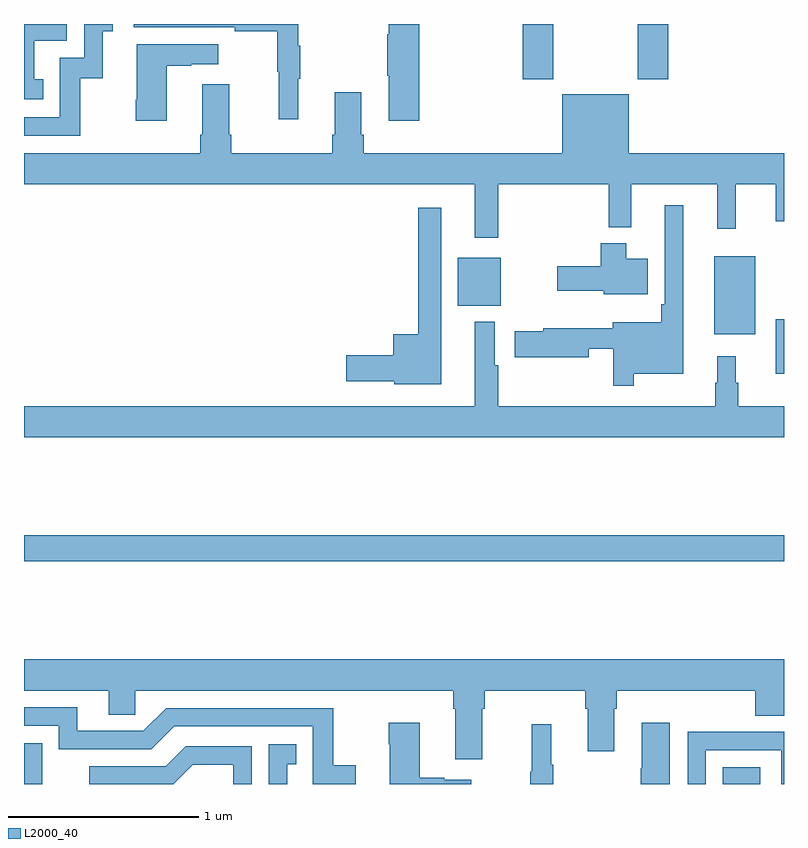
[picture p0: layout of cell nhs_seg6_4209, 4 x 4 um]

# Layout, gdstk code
import gdstk
lib = gdstk.Library(unit=1e-6, precision=1e-09)
def R(c, l, rs):  # rectangles x0, y0, x1, y1
    for r in rs: c.add(gdstk.rectangle(r[:2], r[2:], *l))
def P(c, l, *ps):  # polygons
    for p in ps: c.add(gdstk.Polygon(p, *l))
L2000_40 = (2000, 40)

nhs_seg6_4209 = lib.new_cell('nhs_seg6_4209')
R(nhs_seg6_4209, L2000_40, [(362.678,957.5,362.875,957.589), (359,958.672,363,958.808), (362.957,959.658,363,959.947), (362.633,959.867,362.848,960.277), (361.283,960.017,361.51,960.271), (361.625,961.209,361.785,961.5), (362.23,961.209,362.39,961.5)])
P(nhs_seg6_4209, L2000_40, [(360.443,961.211),(360.454,961.211),(360.454,961.385),(360.443,961.385),(360.443,961.5),(359.577,961.5),(359.577,961.482),(360.109,961.482),(360.109,961.462),(360.333,961.462),(360.333,961.248),(360.34,961.248),(360.34,960.999),(360.443,960.999)],
  [(359.102,961.209),(359.053,961.209),(359.053,961.413),(359.226,961.413),(359.226,961.5),(359,961.5),(359,961.104),(359.102,961.104)],
  [(361.079,961.5),(360.92,961.5),(360.92,961.445),(360.913,961.445),(360.913,961.228),(360.92,961.228),(360.92,960.99),(361.079,960.99)],
  [(359.296,961.215),(359.414,961.215),(359.414,961.461),(359.467,961.461),(359.467,961.5),(359.316,961.5),(359.316,961.323),(359.187,961.323),(359.187,961.008),(359,961.008),(359,960.912),(359.296,960.912)],
  [(359.752,961.279),(359.879,961.279),(359.879,961.289),(360.022,961.289),(360.022,961.393),(359.594,961.393),(359.594,961.102),(359.587,961.102),(359.587,960.99),(359.752,960.99)],
  [(361.495,960.656),(362.077,960.656),(362.077,960.431),(362.195,960.431),(362.195,960.656),(362.648,960.656),(362.648,960.423),(362.747,960.423),(362.747,960.656),(362.957,960.656),(362.957,960.462),(363,960.462),(363,960.82),(362.182,960.82),(362.182,961.129),(361.832,961.129),(361.832,960.82),(360.788,960.82),(360.788,960.916),(360.775,960.916),(360.775,961.141),(360.635,961.141),(360.635,960.916),(360.623,960.916),(360.623,960.82),(360.092,960.82),(360.092,960.916),(360.079,960.916),(360.079,961.183),(359.939,961.183),(359.939,960.916),(359.927,960.916),(359.927,960.82),(359,960.82),(359,960.656),(361.373,960.656),(361.373,960.375),(361.495,960.375)],
  [(362.209,959.66),(362.47,959.66),(362.47,960.547),(362.373,960.547),(362.373,960.025),(362.353,960.025),(362.353,959.929),(362.099,959.929),(362.099,959.9),(361.733,959.9),(361.733,959.882),(361.584,959.882),(361.584,959.747),(361.972,959.747),(361.972,959.79),(362.1,959.79),(362.1,959.595),(362.209,959.595)],
  [(361.195,960.532),(361.074,960.532),(361.074,959.866),(360.944,959.866),(360.944,959.756),(360.696,959.756),(360.696,959.621),(360.948,959.621),(360.948,959.603),(361.195,959.603)],
  [(362.284,960.265),(362.17,960.265),(362.17,960.346),(362.036,960.346),(362.036,960.225),(361.806,960.225),(361.806,960.095),(362.052,960.095),(362.052,960.077),(362.284,960.077)],
  [(363,959.488),(362.758,959.488),(362.758,959.612),(362.747,959.612),(362.747,959.752),(362.648,959.752),(362.648,959.612),(362.637,959.612),(362.637,959.488),(361.495,959.488),(361.495,959.705),(361.477,959.705),(361.477,959.932),(361.373,959.932),(361.373,959.488),(359,959.488),(359,959.324),(363,959.324)],
  [(361.411,957.896),(361.424,957.896),(361.424,957.992),(361.955,957.992),(361.955,957.896),(361.967,957.896),(361.967,957.672),(362.107,957.672),(362.107,957.896),(362.12,957.896),(362.12,957.992),(362.849,957.992),(362.849,957.859),(363,957.859),(363,958.156),(359,958.156),(359,957.992),(359.447,957.992),(359.447,957.865),(359.586,957.865),(359.586,957.992),(361.259,957.992),(361.259,957.896),(361.271,957.896),(361.271,957.63),(361.411,957.63)],
  [(360.746,957.598),(360.628,957.598),(360.628,957.9),(359.748,957.9),(359.628,957.78),(359.281,957.78),(359.281,957.903),(359,957.903),(359,957.807),(359.184,957.807),(359.184,957.684),(359.67,957.684),(359.79,957.804),(360.519,957.804),(360.519,957.5),(360.746,957.5)],
  [(362.398,957.823),(362.252,957.823),(362.252,957.584),(362.245,957.584),(362.245,957.5),(362.398,957.5)],
  [(361.354,957.523),(361.211,957.523),(361.211,957.533),(361.084,957.533),(361.084,957.823),(360.919,957.823),(360.919,957.71),(360.926,957.71),(360.926,957.5),(361.354,957.5)],
  [(361.786,957.601),(361.775,957.601),(361.775,957.814),(361.672,957.814),(361.672,957.564),(361.665,957.564),(361.665,957.5),(361.786,957.5)],
  [(362.589,957.678),(362.985,957.678),(362.985,957.5),(363,957.5),(363,957.774),(362.765,957.774),(362.765,957.776),(362.493,957.776),(362.493,957.5),(362.589,957.5)],
  [(359.096,957.509),(359.097,957.509),(359.097,957.715),(359,957.715),(359,957.5),(359.096,957.5)],
  [(360.385,957.603),(360.434,957.603),(360.434,957.709),(360.288,957.709),(360.288,957.5),(360.385,957.5)],
  [(359.888,957.602),(360.102,957.602),(360.102,957.5),(360.198,957.5),(360.198,957.699),(359.852,957.699),(359.747,957.594),(359.344,957.594),(359.344,957.5),(359.786,957.5)])

lib.write_gds('nhs_seg6_4209.gds')
